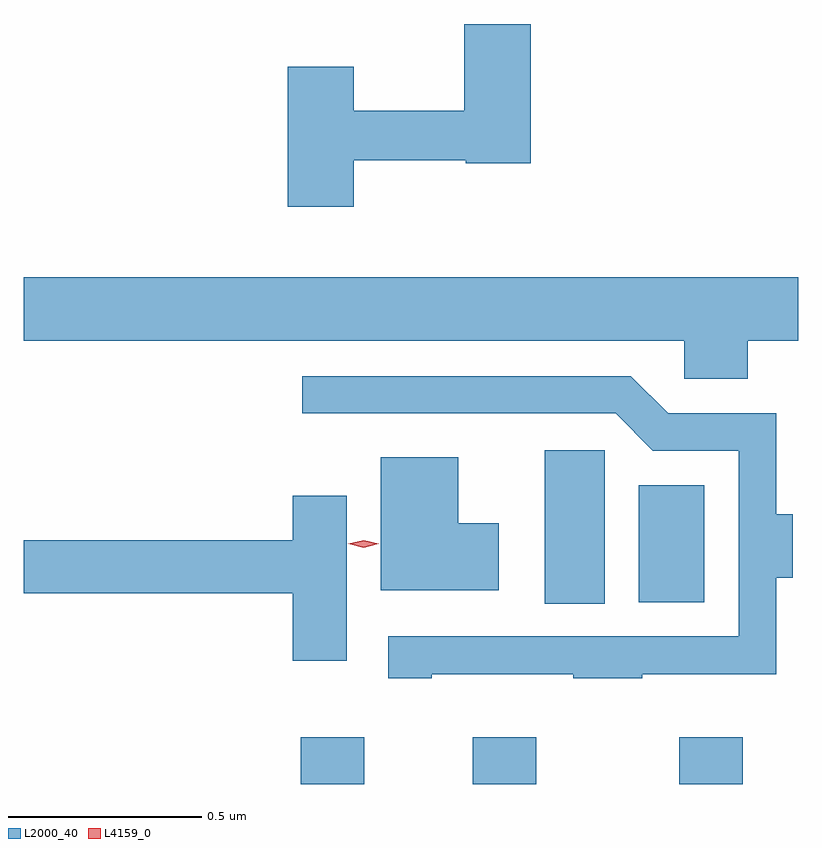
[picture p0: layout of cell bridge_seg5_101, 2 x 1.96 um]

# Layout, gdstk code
import gdstk
lib = gdstk.Library(unit=1e-6, precision=1e-09)
def R(c, l, rs):  # rectangles x0, y0, x1, y1
    for r in rs: c.add(gdstk.rectangle(r[:2], r[2:], *l))
def P(c, l, *ps):  # polygons
    for p in ps: c.add(gdstk.Polygon(p, *l))
L2000_40 = (2000, 40)
L4159_0 = (4159, 0)

bridge_seg5_101 = lib.new_cell('bridge_seg5_101')
R(bridge_seg5_101, L2000_40, [(544.097,842.295,544.261,842.416), (544.541,842.295,544.705,842.416), (545.075,842.295,545.239,842.416), (544.727,842.761,544.882,843.157), (544.97,842.765,545.14,843.067)])
P(bridge_seg5_101, L2000_40, [(544.234,843.906),(544.524,843.906),(544.524,843.898),(544.691,843.898),(544.691,844.258),(544.52,844.258),(544.52,844.034),(544.234,844.034),(544.234,844.147),(544.064,844.147),(544.064,843.786),(544.234,843.786)],
  [(545.252,843.44),(545.382,843.44),(545.382,843.604),(543.382,843.604),(543.382,843.44),(545.088,843.44),(545.088,843.342),(545.252,843.342)],
  [(544.435,842.579),(544.801,842.579),(544.801,842.568),(544.979,842.568),(544.979,842.579),(545.325,842.579),(545.325,842.828),(545.368,842.828),(545.368,842.992),(545.326,842.992),(545.326,843.252),(545.046,843.252),(544.95,843.348),(544.101,843.348),(544.101,843.252),(544.911,843.252),(545.007,843.156),(545.229,843.156),(545.229,842.676),(544.323,842.676),(544.323,842.568),(544.435,842.568)],
  [(544.609,842.968),(544.504,842.968),(544.504,843.139),(544.304,843.139),(544.304,842.795),(544.609,842.795)],
  [(544.216,843.04),(544.076,843.04),(544.076,842.924),(543.382,842.924),(543.382,842.788),(544.076,842.788),(544.076,842.613),(544.216,842.613)])
P(bridge_seg5_101, L4159_0, [(544.26,842.905),(544.22,842.915),(544.22,842.915),(544.22,842.916),(544.26,842.925),(544.299,842.916),(544.299,842.915),(544.299,842.915)])

lib.write_gds('bridge_seg5_101.gds')
